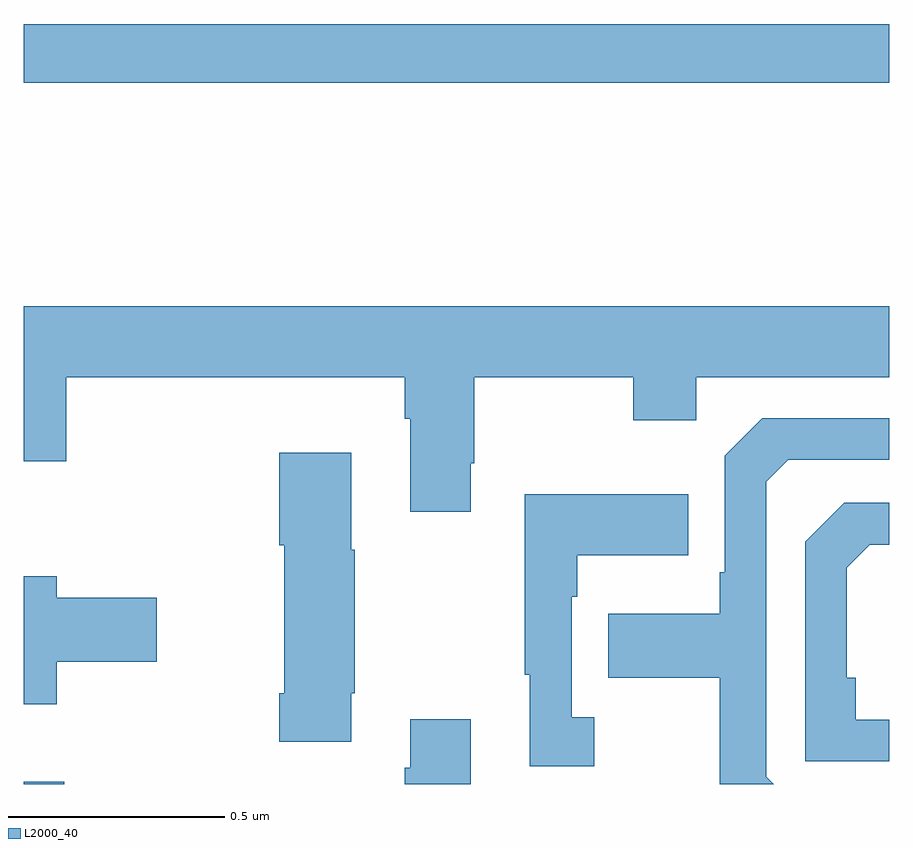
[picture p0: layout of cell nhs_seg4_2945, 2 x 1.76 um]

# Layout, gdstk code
import gdstk
lib = gdstk.Library(unit=1e-6, precision=1e-09)
def R(c, l, rs):  # rectangles x0, y0, x1, y1
    for r in rs: c.add(gdstk.rectangle(r[:2], r[2:], *l))
def P(c, l, *ps):  # polygons
    for p in ps: c.add(gdstk.Polygon(p, *l))
L2000_40 = (2000, 40)

nhs_seg4_2945 = lib.new_cell('nhs_seg4_2945')
R(nhs_seg4_2945, L2000_40, [(147,775.9,147.094,775.905), (147,777.52,149,777.656)])
P(nhs_seg4_2945, L2000_40, [(148.033,776.641),(148.041,776.641),(148.041,776.84),(148.408,776.84),(148.408,776.741),(148.554,776.741),(148.554,776.84),(149,776.84),(149,777.004),(147,777.004),(147,776.646),(147.098,776.646),(147.098,776.84),(147.881,776.84),(147.881,776.744),(147.893,776.744),(147.893,776.529),(148.033,776.529)],
  [(148.716,775.917),(148.716,776.598),(148.767,776.649),(149,776.649),(149,776.745),(148.707,776.745),(148.62,776.658),(148.62,776.389),(148.608,776.389),(148.608,776.293),(148.351,776.293),(148.351,776.146),(148.608,776.146),(148.608,775.9),(148.733,775.9)],
  [(147.757,776.11),(147.765,776.11),(147.765,776.441),(147.757,776.441),(147.757,776.665),(147.59,776.665),(147.59,776.452),(147.602,776.452),(147.602,776.11),(147.59,776.11),(147.59,775.998),(147.757,775.998)],
  [(148.318,776.054),(148.266,776.054),(148.266,776.333),(148.279,776.333),(148.279,776.429),(148.535,776.429),(148.535,776.569),(148.158,776.569),(148.158,776.153),(148.169,776.153),(148.169,775.941),(148.318,775.941)],
  [(149,776.049),(148.922,776.049),(148.922,776.146),(148.902,776.146),(148.902,776.4),(148.955,776.453),(149,776.453),(149,776.55),(148.896,776.55),(148.806,776.46),(148.806,775.953),(149,775.953)],
  [(147.076,776.183),(147.307,776.183),(147.307,776.33),(147.076,776.33),(147.076,776.38),(147,776.38),(147,776.084),(147.076,776.084)],
  [(148.033,776.05),(147.893,776.05),(147.893,775.937),(147.881,775.937),(147.881,775.9),(148.033,775.9)])

lib.write_gds('nhs_seg4_2945.gds')
